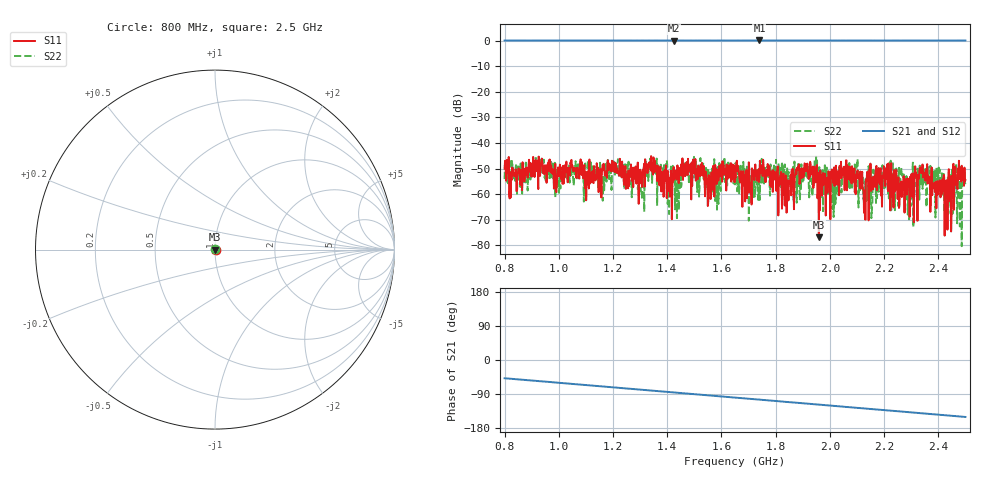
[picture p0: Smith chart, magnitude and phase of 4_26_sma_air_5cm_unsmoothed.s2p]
!Keysight Technologies N9950B: A.12.38
!Date: Wednesday, 26 April 2023 18:48:57
!Timezone: (UTC-06:00) Central Time (US & Canada)
!Model: N9950B
!Serial: MY61131330
!GPS Latitude:
!GPS Longitude:
!GPS TimeStamp: 0001-01-01 00:00:00Z
!GPS Seconds Since Last Read: 0
!CHECKSUM:1229087673
!Correction: S11(ON U)S21(ON U)S12(ON U)S22(ON U)
!S2P File: Measurements:S11,S21,S12,S22:
# Hz S DB R 50
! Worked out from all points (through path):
!   1001 points, 800 MHz to 2.5 GHz, reference 50 ohm
!   highest |S21| = 0.02 dB at 1.74 GHz (marker M1); lowest = 0.0 dB at 1.426 GHz (marker M2)
!   group delay of S21, straight-line fit = 167 ps
!   lowest |S11| = -76.9 dB at 1.959 GHz (marker M3), VSWR 1.00, Z = 50 + j0.00833 ohm
!   |S11| at or under -10 dB: start of sweep to end of sweep
!   |S22| runs from -80.3 to -45.4 dB; largest |S21 - S12| = 0.0061
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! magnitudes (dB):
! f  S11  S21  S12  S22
! 800 MHz  -50.0  0.0  0.0  -54.1
! 1.084 GHz  -52.5  0.0  0.0  -47.4
! 1.307 GHz  -57.2  0.0  0.0  -61.4
! 1.334 GHz  -47.6  0.0  0.0  -50.7
! 1.368 GHz  -54.8  0.0  0.0  -52.6
! 1.426 GHz  -54.4  0.0  0.0  -52.4
! 1.522 GHz  -52.7  0.0  0.0  -45.9
! 1.558 GHz  -53.6  0.0  0.0  -51.5
! 1.65 GHz  -50.8  0.0  0.0  -56.2
! 1.703 GHz  -50.1  0.0  0.0  -59.0
! 1.74 GHz  -54.3  0.0  0.0  -55.2
! 1.839 GHz  -55.3  0.0  0.0  -51.9
! 1.934 GHz  -52.4  0.0  0.0  -51.7
! 1.959 GHz  -76.9  0.0  0.0  -51.1
! 2.017 GHz  -56.8  0.0  0.0  -64.1
! 2.055 GHz  -58.5  0.0  0.0  -53.6
! 2.123 GHz  -58.1  0.0  0.0  -57.7
! 2.218 GHz  -53.1  0.0  0.0  -61.7
! 2.294 GHz  -68.9  0.0  0.0  -55.6
! 2.367 GHz  -53.3  0.0  0.0  -50.8
! 2.432 GHz  -59.7  0.0  0.0  -60.1
! 2.5 GHz  -54.4  0.0  0.0  -56.1
